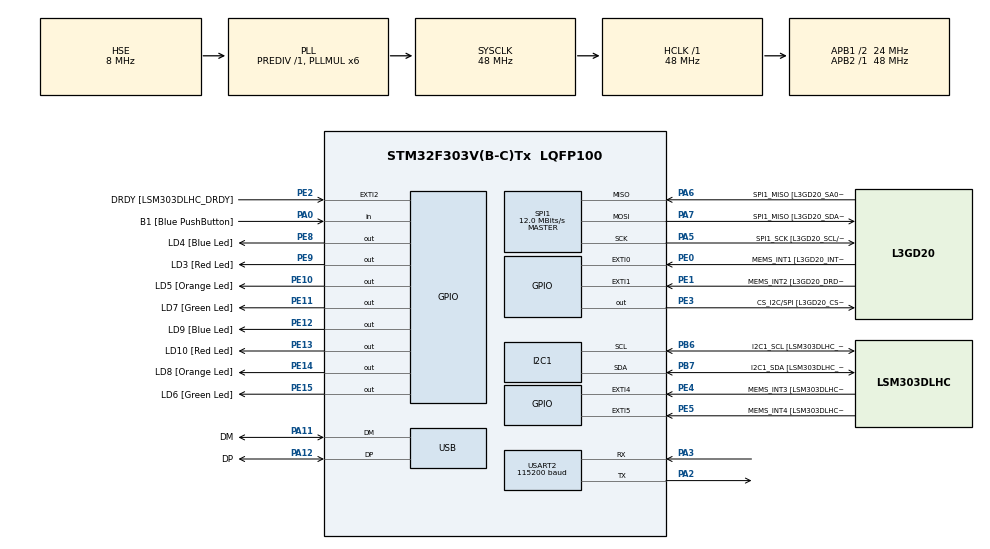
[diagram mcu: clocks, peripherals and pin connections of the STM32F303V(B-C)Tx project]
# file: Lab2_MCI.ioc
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I2C1.Timing=0x2000090E
I2C1.Timing-I2C=0x2000090E
Mcu.Family=STM32F3
Mcu.Name=STM32F303V(B-C)Tx
Mcu.Package=LQFP100
NVIC.PriorityGroup=NVIC_PRIORITYGROUP_0
PA0.GPIO_Label=B1 [Blue PushButton]
PA0.Signal=GPIO_Input
PA11.GPIO_Label=DM
PA11.Mode=Device
PA11.Signal=USB_DM
PA12.GPIO_Label=DP
PA12.Mode=Device
PA12.Signal=USB_DP
PA13.GPIO_Label=SWDIO
PA13.Mode=Serial_Wire
PA13.Signal=SYS_JTMS-SWDIO
PA14.GPIO_Label=SWCLK
PA14.Mode=Serial_Wire
PA14.Signal=SYS_JTCK-SWCLK
PA2.Mode=Asynchronous
PA2.Signal=USART2_TX
PA3.Mode=Asynchronous
PA3.Signal=USART2_RX
PA5.GPIO_Label=SPI1_SCK [L3GD20_SCL/SPC]
PA5.Mode=Full_Duplex_Master
PA5.Signal=SPI1_SCK
PA6.GPIO_Label=SPI1_MISO [L3GD20_SA0/SDO]
PA6.Mode=Full_Duplex_Master
PA6.Signal=SPI1_MISO
PA7.GPIO_Label=SPI1_MISO [L3GD20_SDA/SDI/SDO]
PA7.Mode=Full_Duplex_Master
PA7.Signal=SPI1_MOSI
PB3.GPIO_Label=SWO
PB3.Signal=SYS_JTDO-TRACESWO
PB6.GPIO_Label=I2C1_SCL [LSM303DLHC_SCL]
PB6.GPIO_Pu=GPIO_PULLUP
PB6.Mode=I2C
PB6.Signal=I2C1_SCL
PB7.GPIO_Label=I2C1_SDA [LSM303DLHC_SDA]
PB7.GPIO_Pu=GPIO_PULLUP
PB7.Mode=I2C
PB7.Signal=I2C1_SDA
PC14-OSC32_IN.GPIO_Label=OSC32_IN
PC14-OSC32_IN.Signal=RCC_OSC32_IN
PC15-OSC32_OUT.GPIO_Label=OSC32_OUT
PC15-OSC32_OUT.Signal=RCC_OSC32_OUT
PE0.GPIO_Label=MEMS_INT1 [L3GD20_INT1]
PE0.GPIO_ModeDefaultEXTI=GPIO_MODE_EVT_RISING
PE0.Signal=GPXTI0
PE1.GPIO_Label=MEMS_INT2 [L3GD20_DRDY/INT2]
PE1.GPIO_ModeDefaultEXTI=GPIO_MODE_EVT_RISING
PE1.Signal=GPXTI1
PE10.GPIO_Label=LD5 [Orange Led]
PE10.Signal=GPIO_Output
PE11.GPIO_Label=LD7 [Green Led]
PE11.Signal=GPIO_Output
PE12.GPIO_Label=LD9 [Blue Led]
PE12.Signal=GPIO_Output
PE13.GPIO_Label=LD10 [Red Led]
PE13.Signal=GPIO_Output
PE14.GPIO_Label=LD8 [Orange Led]
PE14.Signal=GPIO_Output
PE15.GPIO_Label=LD6 [Green Led]
PE15.Signal=GPIO_Output
PE2.GPIO_Label=DRDY [LSM303DLHC_DRDY]
PE2.GPIO_ModeDefaultEXTI=GPIO_MODE_EVT_RISING
PE2.Signal=GPXTI2
PE3.GPIO_Label=CS_I2C/SPI [L3GD20_CS_I2C/SPI]
PE3.Signal=GPIO_Output
PE4.GPIO_Label=MEMS_INT3 [LSM303DLHC_INT1]
PE4.GPIO_ModeDefaultEXTI=GPIO_MODE_EVT_RISING
PE4.Signal=GPXTI4
PE5.GPIO_Label=MEMS_INT4 [LSM303DLHC_INT2]
PE5.GPIO_ModeDefaultEXTI=GPIO_MODE_EVT_RISING
PE5.Signal=GPXTI5
PE8.GPIO_Label=LD4 [Blue Led]
PE8.Signal=GPIO_Output
PE9.GPIO_Label=LD3 [Red Led]
PE9.Signal=GPIO_Output
PF0-OSC_IN.GPIO_Label=OSC_IN
PF0-OSC_IN.Mode=HSE-External-Clock-Source
PF0-OSC_IN.Signal=RCC_OSC_IN
PF1-OSC_OUT.GPIO_Label=OSC_OUT
PF1-OSC_OUT.Signal=RCC_OSC_OUT
ProjectManager.HeapSize=0x200
ProjectManager.StackSize=0x400
ProjectManager.TargetToolchain=CMake
RCC.AHBFreq_Value=48000000
RCC.APB1CLKDivider=RCC_HCLK_DIV2
RCC.APB1Freq_Value=24000000
RCC.APB1TimFreq_Value=48000000
RCC.APB2Freq_Value=48000000
RCC.APB2TimFreq_Value=48000000
RCC.CortexFreq_Value=48000000
RCC.HCLKFreq_Value=48000000
RCC.HSE_VALUE=8000000
RCC.HSI_VALUE=8000000
RCC.LSE_VALUE=32768
RCC.PLLMUL=RCC_PLL_MUL6
RCC.SYSCLKFreq_VALUE=48000000
RCC.SYSCLKSourceVirtual=RCC_SYSCLKSOURCE_PLLCLK
RCC.USBFreq_Value=48000000
SPI1.BaudRatePrescaler=SPI_BAUDRATEPRESCALER_4
SPI1.BaudRatePrescaler-Full_Duplex_Master=SPI_BAUDRATEPRESCALER_2
SPI1.CalculateBaudRate=12.0 MBits/s
SPI1.CalculateBaudRate-Full_Duplex_Master=24.0 MBits/s
SPI1.Direction=SPI_DIRECTION_2LINES
SPI1.Mode=SPI_MODE_MASTER
SPI1.Mode-Full_Duplex_Master=SPI_MODE_MASTER
SPI1.VirtualType=VM_MASTER
USART2.BaudRate=115200
USART2.VirtualMode-Asynchronous=VM_ASYNC
board=STM32F3DISCOVERY

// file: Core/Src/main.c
/* USER CODE BEGIN Header */
/**
  ******************************************************************************
  * @file           : main.c
  * @brief          : Main program body
  ******************************************************************************
  * @attention
  *
  * Copyright (c) 2025 STMicroelectronics.
  * All rights reserved.
  *
  * This software is licensed under terms that can be found in the LICENSE file
  * in the root directory of this software component.
  * If no LICENSE file comes with this software, it is provided AS-IS.
  *
  ******************************************************************************
  */
/* USER CODE END Header */

#include "main.h"
#include "stdarg.h"
#include "stdio.h"
#include "string.h"

I2C_HandleTypeDef hi2c1;

SPI_HandleTypeDef hspi1;

UART_HandleTypeDef huart2;

PCD_HandleTypeDef hpcd_USB_FS;

void SystemClock_Config(void);
static void MX_GPIO_Init(void);
static void MX_I2C1_Init(void);
static void MX_SPI1_Init(void);
static void MX_USART2_UART_Init(void);
static void MX_USB_PCD_Init(void);

   void myPrintf(const char *fmt, ...){
    char buffer[100];
    va_list args;
    va_start(args, fmt);
    vsnprintf(buffer, sizeof(buffer), fmt, args);
    va_end(args);
    HAL_UART_Transmit(&huart2, (uint8_t*)buffer, strlen(buffer), HAL_MAX_DELAY);
}
int main(void)
{

  /* MCU Configuration--------------------------------------------------------*/

  /* Reset of all peripherals, Initializes the Flash interface and the Systick. */
  HAL_Init();

  /* Configure the system clock */
  SystemClock_Config();

  /* Initialize all configured peripherals */
  MX_GPIO_Init();
  MX_I2C1_Init();
  MX_SPI1_Init();
  MX_USART2_UART_Init();
  MX_USB_PCD_Init();

  /* Infinite loop */
  /* USER CODE BEGIN WHILE */
  //TASK3
    // char str[] = "Microcontrollers";
    // char encrypted[100];
    // char decrypted[100];

    // // (b) Define encryption key (example: student ID = 09281)
    // int key = 9281;
    // int shift = key % 256;   // to keep it in ASCII range

    // int i, len = strlen(str);

    // // (c) Encrypt each character
    // for (i = 0; i < len; i++) {
    //     encrypted[i] = str[i] + shift;
    // }
    // encrypted[len] = '\0';

    // // (e) Decrypt (reverse operation)
    // for (i = 0; i < len; i++) {
    //     decrypted[i] = encrypted[i] - shift;
    // }
    // decrypted[len] = '\0';

    // Confirm match
    // if (strcmp(str, decrypted) == 0) {
    //     printf("Decryption successful, matches original!\n");
    // } else {
    //     printf("Decryption failed.\n");
    // }
    //TASK4
    int A[2][2] = { {1, 2}, {3, 4} };
    int B[2][2] = { {5, 6}, {7, 8} };
    int C[2][2];
    int num, a, b, c, sum;
    // int x= 3;
    // float y=3.14;
    // int a,b;
    // int LHS,RHS;

    // a=5;
    // b=3;

    // LHS = (a+b) * (a+b);
    // RHS = (a*a) + (b*b) + (2*a*b);
  while (1)
  {
    /* USER CODE END WHILE */
    // myPrintf("Value of x = %d , y = %d.%02d\r\n", x, (int)y, (int)((y - (int)y) * 100));
    // HAL_Delay(1000);
    /* USER CODE BEGIN 3 */
    //TASK2
    // myPrintf("a = %d, b = %d\r\n", a, b);
    // myPrintf("LHS = (a + b)^2 = %d\r\n", LHS);
    // myPrintf("RHS = a^2 + 2ab + b^2 = %d\r\n", RHS);

    // if (LHS == RHS) {
    //     myPrintf("Identity holds: (a + b)^2 = a^2 + 2ab + b^2\r\n");
    // } else {
    //     myPrintf("Identity does NOT hold.\r\n");
    // }
    // HAL_Delay(2000);
    //TASK3
    // myPrintf("Original: %s\r\n", str);
    // myPrintf("Encrypted: %s\r\n", encrypted);
    // myPrintf("Decrypted: %s\r\n", decrypted);
    // HAL_Delay(1000);  // print every 1 second
    //Task4
    for (int i = 0; i < 2; i++) {
            for (int j = 0; j < 2; j++) {
                C[i][j] = 0;
                for (int k = 0; k < 2; k++) {
                    C[i][j] += A[i][k] * B[k][j];
                }
            }
        }

        // Print Matrix A
        myPrintf("\r\nMatrix A:\r\n");
        for (int i = 0; i < 2; i++) {
            for (int j = 0; j < 2; j++) {
                myPrintf("%d ", A[i][j]);
            }
            myPrintf("\r\n");
        }

        // Print Matrix B
        myPrintf("\r\nMatrix B:\r\n");
        for (int i = 0; i < 2; i++) {
            for (int j = 0; j < 2; j++) {
                myPrintf("%d ", B[i][j]);
            }
            myPrintf("\r\n");
        }

        // Print Matrix C
        myPrintf("\r\nMatrix C (A x B):\r\n");
        for (int i = 0; i < 2; i++) {
            for (int j = 0; j < 2; j++) {
                myPrintf("%d ", C[i][j]);
            }
            myPrintf("\r\n");
        }

        myPrintf("------\r\n");

        HAL_Delay(1000); // wait 1 second before printing again
    myPrintf("\r\nArmstrong numbers between 100 and 999:\r\n");

        // loop through all 3-digit numbers
        for (num = 100; num <= 999; num++) {
            a = num / 100;         // hundreds
            b = (num / 10) % 10;   // tens
            c = num % 10;          // ones

            sum = (a*a*a) + (b*b*b) + (c*c*c);

            if (sum == num) {
                myPrintf("%d\r\n", num);
            }
        }

        myPrintf("------\r\n");

        HAL_Delay(2000); // wait 2 seconds before repeating

  }
  /* USER CODE END 3 */
}

void SystemClock_Config(void)
{
  RCC_OscInitTypeDef RCC_OscInitStruct = {0};
  RCC_ClkInitTypeDef RCC_ClkInitStruct = {0};
  RCC_PeriphCLKInitTypeDef PeriphClkInit = {0};

  /** Initializes the RCC Oscillators according to the specified parameters
  * in the RCC_OscInitTypeDef structure.
  */
  RCC_OscInitStruct.OscillatorType = RCC_OSCILLATORTYPE_HSI|RCC_OSCILLATORTYPE_HSE;
  RCC_OscInitStruct.HSEState = RCC_HSE_BYPASS;
  RCC_OscInitStruct.HSEPredivValue = RCC_HSE_PREDIV_DIV1;
  RCC_OscInitStruct.HSIState = RCC_HSI_ON;
  RCC_OscInitStruct.HSICalibrationValue = RCC_HSICALIBRATION_DEFAULT;
  RCC_OscInitStruct.PLL.PLLState = RCC_PLL_ON;
  RCC_OscInitStruct.PLL.PLLSource = RCC_PLLSOURCE_HSE;
  RCC_OscInitStruct.PLL.PLLMUL = RCC_PLL_MUL6;
  if (HAL_RCC_OscConfig(&RCC_OscInitStruct) != HAL_OK)
  {
    Error_Handler();
  }

  /** Initializes the CPU, AHB and APB buses clocks
  */
  RCC_ClkInitStruct.ClockType = RCC_CLOCKTYPE_HCLK|RCC_CLOCKTYPE_SYSCLK
                              |RCC_CLOCKTYPE_PCLK1|RCC_CLOCKTYPE_PCLK2;
  RCC_ClkInitStruct.SYSCLKSource = RCC_SYSCLKSOURCE_PLLCLK;
  RCC_ClkInitStruct.AHBCLKDivider = RCC_SYSCLK_DIV1;
  RCC_ClkInitStruct.APB1CLKDivider = RCC_HCLK_DIV2;
  RCC_ClkInitStruct.APB2CLKDivider = RCC_HCLK_DIV1;

  if (HAL_RCC_ClockConfig(&RCC_ClkInitStruct, FLASH_LATENCY_1) != HAL_OK)
  {
    Error_Handler();
  }
  PeriphClkInit.PeriphClockSelection = RCC_PERIPHCLK_USB|RCC_PERIPHCLK_USART2
                              |RCC_PERIPHCLK_I2C1;
  PeriphClkInit.Usart2ClockSelection = RCC_USART2CLKSOURCE_PCLK1;
  PeriphClkInit.I2c1ClockSelection = RCC_I2C1CLKSOURCE_HSI;
  PeriphClkInit.USBClockSelection = RCC_USBCLKSOURCE_PLL;
  if (HAL_RCCEx_PeriphCLKConfig(&PeriphClkInit) != HAL_OK)
  {
    Error_Handler();
  }
}

static void MX_I2C1_Init(void)
{

  hi2c1.Instance = I2C1;
  hi2c1.Init.Timing = 0x2000090E;
  hi2c1.Init.OwnAddress1 = 0;
  hi2c1.Init.AddressingMode = I2C_ADDRESSINGMODE_7BIT;
  hi2c1.Init.DualAddressMode = I2C_DUALADDRESS_DISABLE;
  hi2c1.Init.OwnAddress2 = 0;
  hi2c1.Init.OwnAddress2Masks = I2C_OA2_NOMASK;
  hi2c1.Init.GeneralCallMode = I2C_GENERALCALL_DISABLE;
  hi2c1.Init.NoStretchMode = I2C_NOSTRETCH_DISABLE;
  if (HAL_I2C_Init(&hi2c1) != HAL_OK)
  {
    Error_Handler();
  }

  /** Configure Analogue filter
  */
  if (HAL_I2CEx_ConfigAnalogFilter(&hi2c1, I2C_ANALOGFILTER_ENABLE) != HAL_OK)
  {
    Error_Handler();
  }

  /** Configure Digital filter
  */
  if (HAL_I2CEx_ConfigDigitalFilter(&hi2c1, 0) != HAL_OK)
  {
    Error_Handler();
  }

}

static void MX_SPI1_Init(void)
{

  /* SPI1 parameter configuration*/
  hspi1.Instance = SPI1;
  hspi1.Init.Mode = SPI_MODE_MASTER;
  hspi1.Init.Direction = SPI_DIRECTION_2LINES;
  hspi1.Init.DataSize = SPI_DATASIZE_4BIT;
  hspi1.Init.CLKPolarity = SPI_POLARITY_LOW;
  hspi1.Init.CLKPhase = SPI_PHASE_1EDGE;
  hspi1.Init.NSS = SPI_NSS_SOFT;
  hspi1.Init.BaudRatePrescaler = SPI_BAUDRATEPRESCALER_4;
  hspi1.Init.FirstBit = SPI_FIRSTBIT_MSB;
  hspi1.Init.TIMode = SPI_TIMODE_DISABLE;
  hspi1.Init.CRCCalculation = SPI_CRCCALCULATION_DISABLE;
  hspi1.Init.CRCPolynomial = 7;
  hspi1.Init.CRCLength = SPI_CRC_LENGTH_DATASIZE;
  hspi1.Init.NSSPMode = SPI_NSS_PULSE_ENABLE;
  if (HAL_SPI_Init(&hspi1) != HAL_OK)
  {
    Error_Handler();
  }

}

static void MX_USART2_UART_Init(void)
{

  huart2.Instance = USART2;
  huart2.Init.BaudRate = 115200;
  huart2.Init.WordLength = UART_WORDLENGTH_8B;
  huart2.Init.StopBits = UART_STOPBITS_1;
  huart2.Init.Parity = UART_PARITY_NONE;
  huart2.Init.Mode = UART_MODE_TX_RX;
  huart2.Init.HwFlowCtl = UART_HWCONTROL_NONE;
  huart2.Init.OverSampling = UART_OVERSAMPLING_16;
  huart2.Init.OneBitSampling = UART_ONE_BIT_SAMPLE_DISABLE;
  huart2.AdvancedInit.AdvFeatureInit = UART_ADVFEATURE_NO_INIT;
  if (HAL_UART_Init(&huart2) != HAL_OK)
  {
    Error_Handler();
  }

}

static void MX_USB_PCD_Init(void)
{

  hpcd_USB_FS.Instance = USB;
  hpcd_USB_FS.Init.dev_endpoints = 8;
  hpcd_USB_FS.Init.speed = PCD_SPEED_FULL;
  hpcd_USB_FS.Init.phy_itface = PCD_PHY_EMBEDDED;
  hpcd_USB_FS.Init.low_power_enable = DISABLE;
  hpcd_USB_FS.Init.battery_charging_enable = DISABLE;
  if (HAL_PCD_Init(&hpcd_USB_FS) != HAL_OK)
  {
    Error_Handler();
  }

}

static void MX_GPIO_Init(void)
{
  GPIO_InitTypeDef GPIO_InitStruct = {0};

  /* GPIO Ports Clock Enable */
  __HAL_RCC_GPIOE_CLK_ENABLE();
  __HAL_RCC_GPIOC_CLK_ENABLE();
  __HAL_RCC_GPIOF_CLK_ENABLE();
  __HAL_RCC_GPIOA_CLK_ENABLE();
  __HAL_RCC_GPIOB_CLK_ENABLE();

  /*Configure GPIO pin Output Level */
  HAL_GPIO_WritePin(GPIOE, CS_I2C_SPI_Pin|LD4_Pin|LD3_Pin|LD5_Pin
                          |LD7_Pin|LD9_Pin|LD10_Pin|LD8_Pin
                          |LD6_Pin, GPIO_PIN_RESET);

  /*Configure GPIO pins : DRDY_Pin MEMS_INT3_Pin MEMS_INT4_Pin MEMS_INT1_Pin
                           MEMS_INT2_Pin */
  GPIO_InitStruct.Pin = DRDY_Pin|MEMS_INT3_Pin|MEMS_INT4_Pin|MEMS_INT1_Pin
                          |MEMS_INT2_Pin;
  GPIO_InitStruct.Mode = GPIO_MODE_EVT_RISING;
  GPIO_InitStruct.Pull = GPIO_NOPULL;
  HAL_GPIO_Init(GPIOE, &GPIO_InitStruct);

  /*Configure GPIO pins : CS_I2C_SPI_Pin LD4_Pin LD3_Pin LD5_Pin
                           LD7_Pin LD9_Pin LD10_Pin LD8_Pin
                           LD6_Pin */
  GPIO_InitStruct.Pin = CS_I2C_SPI_Pin|LD4_Pin|LD3_Pin|LD5_Pin
                          |LD7_Pin|LD9_Pin|LD10_Pin|LD8_Pin
                          |LD6_Pin;
  GPIO_InitStruct.Mode = GPIO_MODE_OUTPUT_PP;
  GPIO_InitStruct.Pull = GPIO_NOPULL;
  GPIO_InitStruct.Speed = GPIO_SPEED_FREQ_LOW;
  HAL_GPIO_Init(GPIOE, &GPIO_InitStruct);

  /*Configure GPIO pin : B1_Pin */
  GPIO_InitStruct.Pin = B1_Pin;
  GPIO_InitStruct.Mode = GPIO_MODE_INPUT;
  GPIO_InitStruct.Pull = GPIO_NOPULL;
  HAL_GPIO_Init(B1_GPIO_Port, &GPIO_InitStruct);

}

void Error_Handler(void)
{
  __disable_irq();
  while (1)
  {
  }
}
